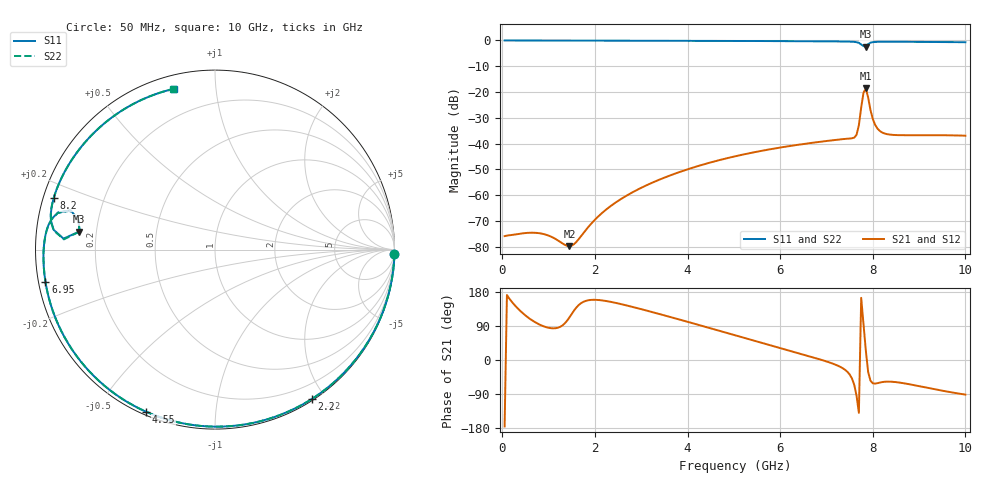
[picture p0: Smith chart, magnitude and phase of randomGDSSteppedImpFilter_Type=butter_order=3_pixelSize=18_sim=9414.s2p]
! freq	dB(S11)	phase(S11)	dB(S12)	phase(S12)
!  dB(S21)	phase(S21)	dB(S22)	phase(S22)
!S-par simulation data
#  GHz  S  DB  R 50
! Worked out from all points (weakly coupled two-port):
!   200 points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, 50 MHz to 10 GHz, reference 50 ohm
!   highest |S21| = -18.59 dB at 7.85 GHz (marker M1); lowest = -79.8 dB at 1.45 GHz (marker M2)
!   lowest |S11| = -2.4 dB at 7.85 GHz (marker M3), VSWR 7.43, Z = 6.76 + j3.25 ohm
!   |S11| at or under -10 dB: nowhere
!   |S22| runs from -2.4 to 0.0 dB; largest |S21 - S12| = 0
!   S11 on the Smith chart (normalised r, x): 50 MHz: 0, -86; 2.2 GHz: 0.02, -1.84; 4.55 GHz: 0.01, -0.66; 6.95 GHz: 0.02, -0.09; 8.2 GHz: 0.03, +0.16; 10 GHz: 0.06, +0.78
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0.05  -0.00 -1.3  -75.89 -175.3  -75.89 -175.3  -0.00 -1.3
0.8  -0.02 -21.2  -74.76 93.7  -74.76 93.7  -0.02 -21.2
1.45  -0.05 -38.1  -79.79 112.4  -79.79 112.4  -0.05 -38.1
1.75  -0.06 -45.8  -74.74 153.4  -74.74 153.4  -0.06 -45.7
2.2  -0.07 -57.1  -66.21 156.5  -66.21 156.5  -0.07 -57.1
2.7  -0.09 -69.4  -60.02 143.5  -60.02 143.5  -0.09 -69.4
3.4  -0.11 -86.3  -53.93 121.1  -53.93 121.1  -0.11 -86.2
4.55  -0.16 -113.0  -47.06 81.9  -47.06 81.9  -0.16 -112.9
5.05  -0.19 -124.4  -44.84 64.5  -44.84 64.5  -0.19 -124.3
6.7  -0.31 -162.9  -39.68 7.5  -39.68 7.5  -0.31 -162.8
6.95  -0.34 -169.2  -39.11 -1.8  -39.11 -1.8  -0.34 -169.0
7.65  -0.67 169.4  -36.59 -94.5  -36.59 -94.5  -0.66 169.6
7.7  -0.93 166.7  -32.86 -139.5  -32.86 -139.5  -0.92 167.0
7.8  -2.19 167.8  -20.25 95.0  -20.25 95.0  -2.16 167.7
7.85  -2.35 172.4  -18.59 24.9  -18.59 24.9  -2.39 172.4
7.9  -1.45 175.9  -22.13 -31.3  -22.13 -31.3  -1.48 176.1
8  -0.66 170.2  -30.41 -61.4  -30.41 -61.4  -0.66 170.4
8.1  -0.54 165.8  -34.16 -61.1  -34.16 -61.1  -0.54 166.1
8.2  -0.51 162.2  -35.67 -58.3  -35.67 -58.3  -0.51 162.5
8.35  -0.50 157.4  -36.47 -57.1  -36.47 -57.1  -0.50 157.7
9.15  -0.58 132.7  -36.73 -72.6  -36.73 -72.6  -0.58 133.1
10  -0.68 104.1  -36.94 -91.3  -36.94 -91.3  -0.68 104.6
